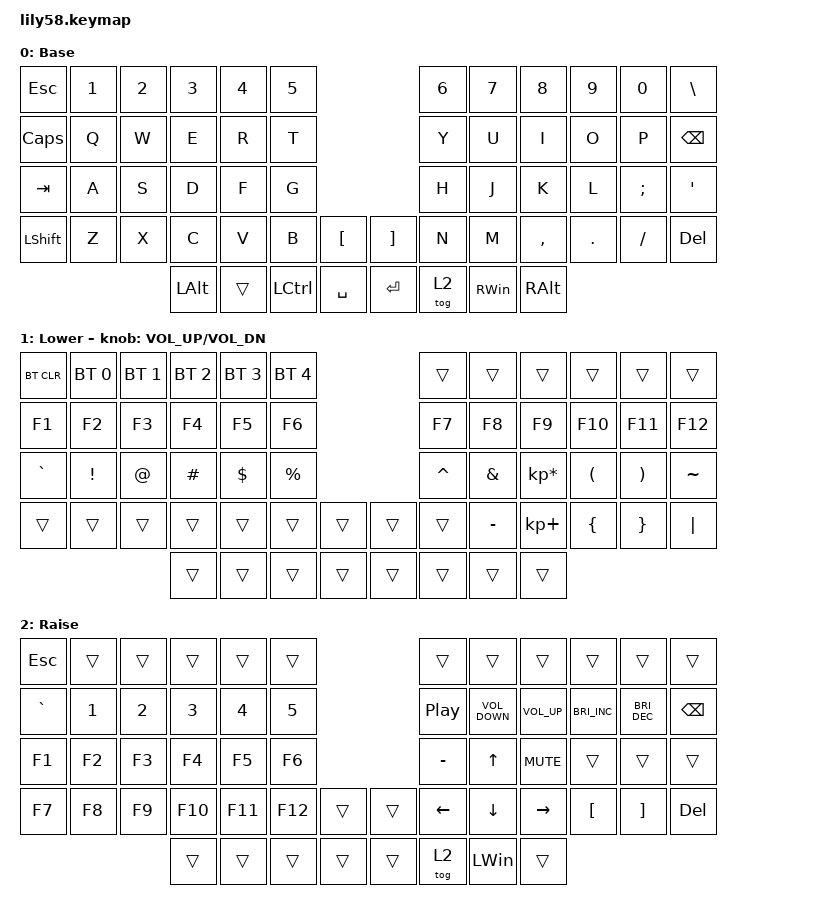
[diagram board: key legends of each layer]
/*
 * Copyright (c) 2020 The ZMK Contributors
 *
 * SPDX-License-Identifier: MIT
 */

#include <behaviors.dtsi>
#include <dt-bindings/zmk/bt.h>
#include <dt-bindings/zmk/keys.h>

/ {
    keymap {
        compatible = "zmk,keymap";

        default_layer {
            // ------------------------------------------------------------------------------------------------------------
            // |  ESC  |  1  |  2  |  3   |  4   |  5   |                   |  6   |  7    |  8    |  9   |   0   |   `   |
            // |  TAB  |  Q  |  W  |  E   |  R   |  T   |                   |  Y   |  U    |  I    |  O   |   P   |   -   |
            // |  CTRL |  A  |  S  |  D   |  F   |  G   |                   |  H   |  J    |  K    |  L   |   ;   |   '   |
            // | SHIFT |  Z  |  X  |  C   |  V   |  B   |   "["  |  |  "]"  |  N   |  M    |  ,    |  .   |   /   | SHIFT |
            //                     | ALT  | GUI  | LOWER|  SPACE |  | ENTER | RAISE| BSPC  | GUI   |

            display-name = "Base";
            bindings = <
&kp ESC       &kp N1  &kp N2  &kp N3    &kp N4  &kp N5                            &kp N6  &kp N7         &kp N8         &kp N9   &kp N0    &kp BACKSLASH
&kp CAPSLOCK  &kp Q   &kp W   &kp E     &kp R   &kp T                             &kp Y   &kp U          &kp I          &kp O    &kp P     &kp BACKSPACE
&kp TAB       &kp A   &kp S   &kp D     &kp F   &kp G                             &kp H   &kp J          &kp K          &kp L    &kp SEMI  &kp SQT
&kp LSHFT     &kp Z   &kp X   &kp C     &kp V   &kp B      &kp LBKT     &kp RBKT  &kp N   &kp M          &kp COMMA      &kp DOT  &kp FSLH  &kp DELETE
                              &kp LALT  &trans  &kp LCTRL  &kp SPACE    &kp RET   &tog 2  &kp RIGHT_WIN  &kp RIGHT_ALT
            >;
        };

        lower_layer {
            // ------------------------------------------------------------------------------------------------------------
            // | BTCLR | BT1 | BT2 |  BT3 |  BT4 |  BT5 |                   |      |       |       |      |       |       |
            // |  F1   |  F2 |  F3 |  F4  |  F5  |  F6  |                   |  F7  |  F8   |  F9   |  F10 |  F11  |  F12  |
            // |   `   |  !  |  @  |  #   |  $   |  %   |                   |  ^   |  &    |  *    |  (   |   )   |   ~   |
            // |       |     |     |      |      |      |        |  |       |      |  _    |  +    |  {   |   }   |  "|"  |
            //                     |      |      |      |        |  |       |      |       |       |

            display-name = "Lower";
            bindings = <
&bt BT_CLR  &bt BT_SEL 0  &bt BT_SEL 1  &bt BT_SEL 2  &bt BT_SEL 3  &bt BT_SEL 4                    &trans     &trans     &trans           &trans    &trans    &trans
&kp F1      &kp F2        &kp F3        &kp F4        &kp F5        &kp F6                          &kp F7     &kp F8     &kp F9           &kp F10   &kp F11   &kp F12
&kp GRAVE   &kp EXCL      &kp AT        &kp HASH      &kp DOLLAR    &kp PRCNT                       &kp CARET  &kp AMPS   &kp KP_MULTIPLY  &kp LPAR  &kp RPAR  &kp TILDE
&trans      &trans        &trans        &trans        &trans        &trans        &trans    &trans  &trans     &kp MINUS  &kp KP_PLUS      &kp LBRC  &kp RBRC  &kp PIPE
                                        &trans        &trans        &trans        &trans    &trans  &trans     &trans     &trans
            >;

            sensor-bindings = <&inc_dec_kp C_VOL_UP C_VOL_DN>;
        };

        raise_layer {
            // ------------------------------------------------------------------------------------------------------------
            // |       |     |     |      |      |      |                   |      |       |       |      |       |       |
            // |   `   |  1  |  2  |  3   |  4   |  5   |                   |  6   |   7   |   8   |  9   |   0   |       |
            // |   F1  |  F2 |  F3 |  F4  |  F5  |  F6  |                   |      |   <-  |   v   |  ^   |  ->   |       |
            // |   F7  |  F8 |  F9 |  F10 |  F11 |  F12 |        |  |       |  +   |   -   |   =   |  [   |   ]   |   \   |
            //                     |      |      |      |        |  |       |      |       |       |

            display-name = "Raise";
            bindings = <
&kp ESCAPE  &trans  &trans  &trans   &trans   &trans                     &trans            &trans             &trans           &trans                &trans                &trans
&kp GRAVE   &kp N1  &kp N2  &kp N3   &kp N4   &kp N5                     &kp C_PLAY_PAUSE  &kp C_VOLUME_DOWN  &kp C_VOLUME_UP  &kp C_BRIGHTNESS_INC  &kp C_BRIGHTNESS_DEC  &kp BACKSPACE
&kp F1      &kp F2  &kp F3  &kp F4   &kp F5   &kp F6                     &kp MINUS         &kp UP_ARROW       &kp K_MUTE       &trans                &trans                &trans
&kp F7      &kp F8  &kp F9  &kp F10  &kp F11  &kp F12  &trans    &trans  &kp LEFT_ARROW    &kp DOWN_ARROW     &kp RIGHT        &kp LBKT              &kp RBKT              &kp DEL
                            &trans   &trans   &trans   &trans    &trans  &tog 2            &kp LEFT_WIN       &trans
            >;
        };
    };
};
